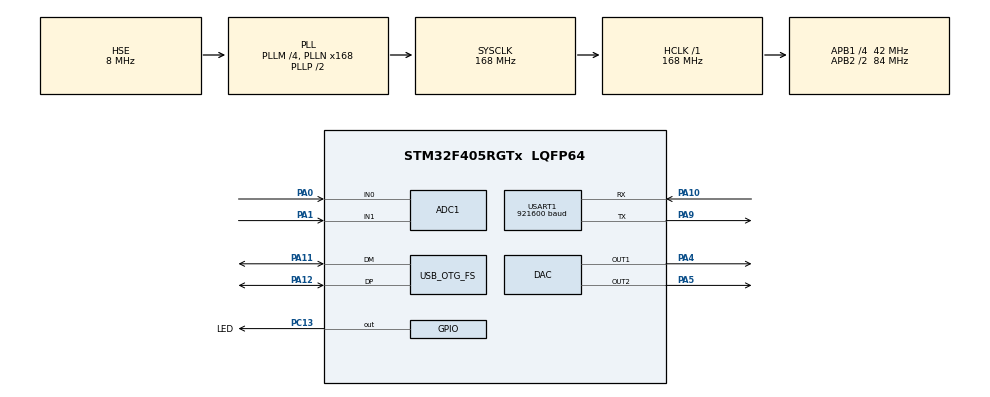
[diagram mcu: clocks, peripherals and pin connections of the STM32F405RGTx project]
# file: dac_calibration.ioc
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ADC1.Channel-0\#ChannelRegularConversion=ADC_CHANNEL_0
ADC1.ClockPrescaler=ADC_CLOCK_SYNC_PCLK_DIV4
ADC1.NbrOfConversion=1
ADC1.NbrOfConversionFlag=1
ADC1.Rank-0\#ChannelRegularConversion=1
ADC1.SamplingTime-0\#ChannelRegularConversion=ADC_SAMPLETIME_28CYCLES
ADC1.ScanConvMode=DISABLE
ADC1.master=1
DAC.DAC_OutputBuffer=DAC_OUTPUTBUFFER_DISABLE
DAC.DAC_OutputBuffer2=DAC_OUTPUTBUFFER_DISABLE
DAC.DAC_Trigger=DAC_TRIGGER_SOFTWARE
DAC.DAC_Trigger2=DAC_TRIGGER_SOFTWARE
Dma.ADC1.0.Direction=DMA_PERIPH_TO_MEMORY
Dma.ADC1.0.FIFOMode=DMA_FIFOMODE_DISABLE
Dma.ADC1.0.Instance=DMA2_Stream0
Dma.ADC1.0.MemDataAlignment=DMA_MDATAALIGN_HALFWORD
Dma.ADC1.0.MemInc=DMA_MINC_ENABLE
Dma.ADC1.0.Mode=DMA_NORMAL
Dma.ADC1.0.PeriphDataAlignment=DMA_PDATAALIGN_HALFWORD
Dma.ADC1.0.PeriphInc=DMA_PINC_DISABLE
Dma.ADC1.0.Priority=DMA_PRIORITY_LOW
Dma.Request0=ADC1
Mcu.Family=STM32F4
Mcu.Name=STM32F405RGTx
Mcu.Package=LQFP64
NVIC.DMA2_Stream0_IRQn=true\:0\:0\:false\:false\:true\:false\:true\:true
NVIC.PriorityGroup=NVIC_PRIORITYGROUP_4
PA0-WKUP.Signal=ADCx_IN0
PA1.Signal=ADCx_IN1
PA10.Mode=Asynchronous
PA10.Signal=USART1_RX
PA11.Mode=Device_Only
PA11.Signal=USB_OTG_FS_DM
PA12.Mode=Device_Only
PA12.Signal=USB_OTG_FS_DP
PA13.Mode=Serial_Wire
PA13.Signal=SYS_JTMS-SWDIO
PA14.Mode=Serial_Wire
PA14.Signal=SYS_JTCK-SWCLK
PA4.Signal=COMP_DAC1_group
PA5.Signal=COMP_DAC2_group
PA9.Mode=Asynchronous
PA9.Signal=USART1_TX
PC13-ANTI_TAMP.GPIO_Label=LED
PC13-ANTI_TAMP.Signal=GPIO_Output
PH0-OSC_IN.Mode=HSE-External-Oscillator
PH0-OSC_IN.Signal=RCC_OSC_IN
PH1-OSC_OUT.Mode=HSE-External-Oscillator
PH1-OSC_OUT.Signal=RCC_OSC_OUT
ProjectManager.HeapSize=0x200
ProjectManager.StackSize=0x400
ProjectManager.TargetToolchain=STM32CubeIDE
RCC.48MHZClocksFreq_Value=48000000
RCC.AHBFreq_Value=168000000
RCC.APB1CLKDivider=RCC_HCLK_DIV4
RCC.APB1Freq_Value=42000000
RCC.APB1TimFreq_Value=84000000
RCC.APB2CLKDivider=RCC_HCLK_DIV2
RCC.APB2Freq_Value=84000000
RCC.APB2TimFreq_Value=168000000
RCC.CortexFreq_Value=168000000
RCC.HCLKFreq_Value=168000000
RCC.HSE_VALUE=8000000
RCC.HSI_VALUE=16000000
RCC.LSE_VALUE=32768
RCC.PLLM=4
RCC.PLLN=168
RCC.PLLQ=7
RCC.SYSCLKFreq_VALUE=168000000
RCC.SYSCLKSource=RCC_SYSCLKSOURCE_PLLCLK
RCC.VCOOutputFreq_Value=336000000
SH.ADCx_IN0.0=ADC1_IN0,IN0
SH.ADCx_IN1.0=ADC1_IN1,IN1
SH.COMP_DAC1_group.0=DAC_OUT1,DAC_OUT1
SH.COMP_DAC2_group.0=DAC_OUT2,DAC_OUT2
USART1.BaudRate=921600
USART1.VirtualMode=VM_ASYNC
USB_OTG_FS.VirtualMode=Device_Only
VP_ADC1_TempSens_Input.Mode=IN-TempSens
VP_ADC1_Vref_Input.Mode=IN-Vrefint
board=custom

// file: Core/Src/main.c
/* USER CODE BEGIN Header */
/**
 ******************************************************************************
 * @file           : main.c
 * @brief          : Main program body
 ******************************************************************************
 * @attention
 *
 * Copyright (c) 2022 STMicroelectronics.
 * All rights reserved.
 *
 * This software is licensed under terms that can be found in the LICENSE file
 * in the root directory of this software component.
 * If no LICENSE file comes with this software, it is provided AS-IS.
 *
 ******************************************************************************
 */
/* USER CODE END Header */
#include "main.h"

/* USER CODE BEGIN Includes */
#include <stdio.h>
#include <math.h>
/* USER CODE END Includes */

/* USER CODE BEGIN PD */

#define VREF_VOLTAGE 1.2

/* USER CODE END PD */

ADC_HandleTypeDef hadc1;
DMA_HandleTypeDef hdma_adc1;

DAC_HandleTypeDef hdac;

UART_HandleTypeDef huart1;

PCD_HandleTypeDef hpcd_USB_OTG_FS;

/* USER CODE BEGIN PV */

const uint16_t adc_vref_expected = 1.2 / 3.3 * 0x1000;

const float dac_values[] = { 0, 0.5, 1.0, 1.5, 2.0, 2.5, 3.0 };

const uint32_t adc_channel[] = {
ADC_CHANNEL_0,
ADC_CHANNEL_1,
ADC_CHANNEL_TEMPSENSOR,
ADC_CHANNEL_VREFINT };

float adc_multiplier;
float dac_multiplier = pow(2, 12) / 3.3;
float dac_correction = 1;

uint16_t adc_value[sizeof(adc_channel) / sizeof(adc_channel[0])];

/* USER CODE END PV */

void SystemClock_Config(void);
static void MX_GPIO_Init(void);
static void MX_DMA_Init(void);
static void MX_ADC1_Init(void);
static void MX_DAC_Init(void);
static void MX_USART1_UART_Init(void);
static void MX_USB_OTG_FS_PCD_Init(void);

/* USER CODE BEGIN 0 */

// Send printf to uart1
int _write(int fd, char *ptr, int len) {
    HAL_StatusTypeDef hstatus;

    if (fd == 1 || fd == 2) {
        hstatus = HAL_UART_Transmit(&huart1, (uint8_t*) ptr, len, HAL_MAX_DELAY);
        if (hstatus == HAL_OK)
            return len;
        else
            return -1;
    }
    return -1;
}

void dac_set_value(const uint32_t channel, uint32_t value) {
    HAL_DAC_SetValue(&hdac, channel, DAC_ALIGN_12B_R, value);
    HAL_DAC_Start(&hdac, channel);
}

void dac_set_voltage(const uint32_t channel, float value) {
    dac_set_value(channel, (uint32_t) round(dac_correction * value * dac_multiplier));
}

uint16_t adc_get_value(const uint32_t channel) {

    //uint32_t start_time = HAL_GetTick();

    ADC_ChannelConfTypeDef sConfig = { 0 };
    sConfig.Channel = channel;
    sConfig.Rank = 1;
    sConfig.SamplingTime = ADC_SAMPLETIME_56CYCLES;

    if (HAL_ADC_ConfigChannel(&hadc1, &sConfig) != HAL_OK) {
        Error_Handler();
    }

    //DBG("Starting convertion");

    if (HAL_ADC_Start(&hadc1) != HAL_OK) {
        DBG("ADC Error");
        Error_Handler();
    }

    if (HAL_ADC_PollForConversion(&hadc1, HAL_MAX_DELAY) != HAL_OK) {
        DBG("ADC Poll Error");
        Error_Handler();
    }

    //DBG("Conversion done - time = %lu", HAL_GetTick() - start_time);

    return HAL_ADC_GetValue(&hadc1);

}

float adc_get_voltage(uint16_t raw) {
    return (float) raw * adc_multiplier;
}

/* USER CODE END 0 */

int main(void) {

    /* MCU Configuration--------------------------------------------------------*/

    /* Reset of all peripherals, Initializes the Flash interface and the Systick. */
    HAL_Init();

    /* Configure the system clock */
    SystemClock_Config();

    /* Initialize all configured peripherals */
    MX_GPIO_Init();
    MX_DMA_Init();
    MX_ADC1_Init();
    MX_DAC_Init();
    MX_USART1_UART_Init();
    MX_USB_OTG_FS_PCD_Init();
    /* USER CODE BEGIN 2 */

    DBG("\n\nStarting");

    dac_set_value(DAC_CHANNEL_1, 0);
    dac_set_value(DAC_CHANNEL_2, 0);

    HAL_Delay(100);

    DBG("Calibrating ADC");

    uint32_t adc_total = 0;
    for (int i = 0; i <= 9; ++i) {
        adc_total += adc_get_value(ADC_CHANNEL_VREFINT);
        HAL_Delay(10);
    }
    adc_multiplier = (float) 1.2 / ((float) adc_total / 10);

    DBG("ADC Multiplier = %f", adc_multiplier);

    DBG("Setting DAC Channel 2 = 3.0V using default multiplier");
    dac_set_voltage(DAC_CHANNEL_2, 3.0);

    HAL_Delay(10);

    float voltage = 0;
    for (int i = 0; i <= 9; ++i) {
        voltage = voltage + adc_get_voltage(adc_get_value(ADC_CHANNEL_1));
        HAL_Delay(10);
    }
    voltage = voltage / 10;
    DBG("Average voltage measured %0.3f", voltage);

    dac_correction = 3 / voltage;

    DBG("DAC Correction = %0.3f", dac_correction);

    /* USER CODE END 2 */

    /* Infinite loop */
    /* USER CODE BEGIN WHILE */

    uint32_t now = 0, last_blink = 0, last_tick = 0, last_dac_change = 0;
    uint32_t dac_value_idx = 1;

    while (1) {

        now = HAL_GetTick();

        if (now - last_blink >= 500) {
            HAL_GPIO_TogglePin(LED_GPIO_Port, LED_Pin);
            last_blink = now;
        }

        if (now - last_tick >= 1000) {

            for (int i = 0; i < sizeof(adc_channel) / sizeof(adc_channel[0]); ++i) {
                HAL_Delay(10);
                adc_value[i] = adc_get_value(adc_channel[i]);
            }

            DBG("Channel 1 = %0.3f V Channel 2 = %0.3f V TEMP = %0.2f °C VREF = %0.3f V", adc_get_voltage(adc_value[0]), adc_get_voltage(adc_value[1]),
                    (adc_get_voltage(adc_value[2]) - 0.76) / 0.0025 + 25, adc_get_voltage(adc_value[3]));

            last_tick = now;
        }

        if (now - last_dac_change >= 5000) {

            dac_set_voltage(DAC_CHANNEL_1, dac_values[dac_value_idx]);

            ++dac_value_idx;

            if (dac_value_idx >= sizeof(dac_values) / sizeof(dac_values[0]))
                dac_value_idx = 0;

            last_dac_change = now;
        }

        /* USER CODE END WHILE */

    }
}

void SystemClock_Config(void) {
    RCC_OscInitTypeDef RCC_OscInitStruct = { 0 };
    RCC_ClkInitTypeDef RCC_ClkInitStruct = { 0 };

    /** Configure the main internal regulator output voltage
     */
    __HAL_RCC_PWR_CLK_ENABLE();
    __HAL_PWR_VOLTAGESCALING_CONFIG(PWR_REGULATOR_VOLTAGE_SCALE1);

    /** Initializes the RCC Oscillators according to the specified parameters
     * in the RCC_OscInitTypeDef structure.
     */
    RCC_OscInitStruct.OscillatorType = RCC_OSCILLATORTYPE_HSE;
    RCC_OscInitStruct.HSEState = RCC_HSE_ON;
    RCC_OscInitStruct.PLL.PLLState = RCC_PLL_ON;
    RCC_OscInitStruct.PLL.PLLSource = RCC_PLLSOURCE_HSE;
    RCC_OscInitStruct.PLL.PLLM = 4;
    RCC_OscInitStruct.PLL.PLLN = 168;
    RCC_OscInitStruct.PLL.PLLP = RCC_PLLP_DIV2;
    RCC_OscInitStruct.PLL.PLLQ = 7;
    if (HAL_RCC_OscConfig(&RCC_OscInitStruct) != HAL_OK) {
        Error_Handler();
    }

    /** Initializes the CPU, AHB and APB buses clocks
     */
    RCC_ClkInitStruct.ClockType = RCC_CLOCKTYPE_HCLK | RCC_CLOCKTYPE_SYSCLK | RCC_CLOCKTYPE_PCLK1 | RCC_CLOCKTYPE_PCLK2;
    RCC_ClkInitStruct.SYSCLKSource = RCC_SYSCLKSOURCE_PLLCLK;
    RCC_ClkInitStruct.AHBCLKDivider = RCC_SYSCLK_DIV1;
    RCC_ClkInitStruct.APB1CLKDivider = RCC_HCLK_DIV4;
    RCC_ClkInitStruct.APB2CLKDivider = RCC_HCLK_DIV2;

    if (HAL_RCC_ClockConfig(&RCC_ClkInitStruct, FLASH_LATENCY_5) != HAL_OK) {
        Error_Handler();
    }
}

static void MX_ADC1_Init(void) {

    ADC_ChannelConfTypeDef sConfig = { 0 };

    /** Configure the global features of the ADC (Clock, Resolution, Data Alignment and number of conversion)
     */
    hadc1.Instance = ADC1;
    hadc1.Init.ClockPrescaler = ADC_CLOCK_SYNC_PCLK_DIV4;
    hadc1.Init.Resolution = ADC_RESOLUTION_12B;
    hadc1.Init.ScanConvMode = DISABLE;
    hadc1.Init.ContinuousConvMode = DISABLE;
    hadc1.Init.DiscontinuousConvMode = DISABLE;
    hadc1.Init.ExternalTrigConvEdge = ADC_EXTERNALTRIGCONVEDGE_NONE;
    hadc1.Init.ExternalTrigConv = ADC_SOFTWARE_START;
    hadc1.Init.DataAlign = ADC_DATAALIGN_RIGHT;
    hadc1.Init.NbrOfConversion = 1;
    hadc1.Init.DMAContinuousRequests = DISABLE;
    hadc1.Init.EOCSelection = ADC_EOC_SINGLE_CONV;
    if (HAL_ADC_Init(&hadc1) != HAL_OK) {
        Error_Handler();
    }

    /** Configure for the selected ADC regular channel its corresponding rank in the sequencer and its sample time.
     */
    sConfig.Channel = ADC_CHANNEL_0;
    sConfig.Rank = 1;
    sConfig.SamplingTime = ADC_SAMPLETIME_28CYCLES;
    if (HAL_ADC_ConfigChannel(&hadc1, &sConfig) != HAL_OK) {
        Error_Handler();
    }

}

static void MX_DAC_Init(void) {

    DAC_ChannelConfTypeDef sConfig = { 0 };

    /** DAC Initialization
     */
    hdac.Instance = DAC;
    if (HAL_DAC_Init(&hdac) != HAL_OK) {
        Error_Handler();
    }

    /** DAC channel OUT1 config
     */
    sConfig.DAC_Trigger = DAC_TRIGGER_SOFTWARE;
    sConfig.DAC_OutputBuffer = DAC_OUTPUTBUFFER_DISABLE;
    if (HAL_DAC_ConfigChannel(&hdac, &sConfig, DAC_CHANNEL_1) != HAL_OK) {
        Error_Handler();
    }

    /** DAC channel OUT2 config
     */
    if (HAL_DAC_ConfigChannel(&hdac, &sConfig, DAC_CHANNEL_2) != HAL_OK) {
        Error_Handler();
    }

}

static void MX_USART1_UART_Init(void) {

    huart1.Instance = USART1;
    huart1.Init.BaudRate = 921600;
    huart1.Init.WordLength = UART_WORDLENGTH_8B;
    huart1.Init.StopBits = UART_STOPBITS_1;
    huart1.Init.Parity = UART_PARITY_NONE;
    huart1.Init.Mode = UART_MODE_TX_RX;
    huart1.Init.HwFlowCtl = UART_HWCONTROL_NONE;
    huart1.Init.OverSampling = UART_OVERSAMPLING_16;
    if (HAL_UART_Init(&huart1) != HAL_OK) {
        Error_Handler();
    }

}

static void MX_USB_OTG_FS_PCD_Init(void) {

    hpcd_USB_OTG_FS.Instance = USB_OTG_FS;
    hpcd_USB_OTG_FS.Init.dev_endpoints = 4;
    hpcd_USB_OTG_FS.Init.speed = PCD_SPEED_FULL;
    hpcd_USB_OTG_FS.Init.dma_enable = DISABLE;
    hpcd_USB_OTG_FS.Init.phy_itface = PCD_PHY_EMBEDDED;
    hpcd_USB_OTG_FS.Init.Sof_enable = DISABLE;
    hpcd_USB_OTG_FS.Init.low_power_enable = DISABLE;
    hpcd_USB_OTG_FS.Init.lpm_enable = DISABLE;
    hpcd_USB_OTG_FS.Init.vbus_sensing_enable = DISABLE;
    hpcd_USB_OTG_FS.Init.use_dedicated_ep1 = DISABLE;
    if (HAL_PCD_Init(&hpcd_USB_OTG_FS) != HAL_OK) {
        Error_Handler();
    }

}

static void MX_DMA_Init(void) {

    /* DMA controller clock enable */
    __HAL_RCC_DMA2_CLK_ENABLE();

    /* DMA interrupt init */
    /* DMA2_Stream0_IRQn interrupt configuration */
    HAL_NVIC_SetPriority(DMA2_Stream0_IRQn, 0, 0);
    HAL_NVIC_EnableIRQ(DMA2_Stream0_IRQn);

}

static void MX_GPIO_Init(void) {
    GPIO_InitTypeDef GPIO_InitStruct = { 0 };

    /* GPIO Ports Clock Enable */
    __HAL_RCC_GPIOC_CLK_ENABLE();
    __HAL_RCC_GPIOH_CLK_ENABLE();
    __HAL_RCC_GPIOA_CLK_ENABLE();

    /*Configure GPIO pin Output Level */
    HAL_GPIO_WritePin(LED_GPIO_Port, LED_Pin, GPIO_PIN_RESET);

    /*Configure GPIO pin : LED_Pin */
    GPIO_InitStruct.Pin = LED_Pin;
    GPIO_InitStruct.Mode = GPIO_MODE_OUTPUT_PP;
    GPIO_InitStruct.Pull = GPIO_NOPULL;
    GPIO_InitStruct.Speed = GPIO_SPEED_FREQ_LOW;
    HAL_GPIO_Init(LED_GPIO_Port, &GPIO_InitStruct);

}

void Error_Handler(void) {
    __disable_irq();
    while (1) {
    }
}
